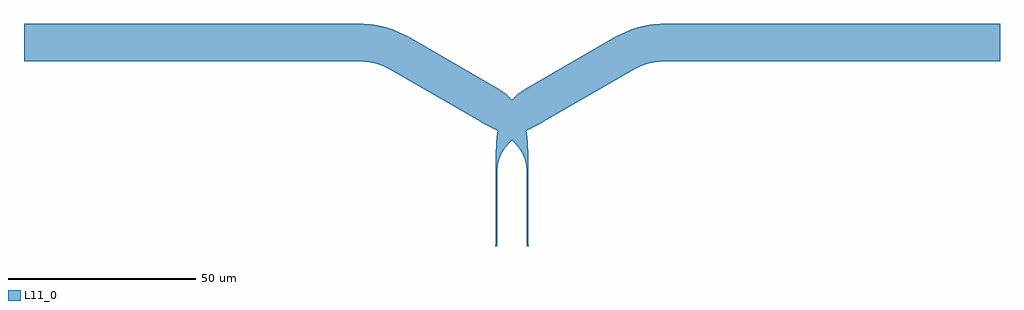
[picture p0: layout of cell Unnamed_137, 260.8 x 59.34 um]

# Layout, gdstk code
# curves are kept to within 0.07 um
from math import pi, radians
import gdstk
lib = gdstk.Library(unit=1e-6, precision=1e-09)
def P(c, l, *ps):  # polygons
    for p in ps: c.add(gdstk.Polygon(p, *l))
L11_0 = (11, 0)

unnamed_140 = lib.new_cell('Unnamed_140')
P(unnamed_140, L11_0, [(17.147,-10.1),(15.958,-8.468),(14.456,-7.117),(12.723,-6.085),(10.854,-5.377),(8.939,-4.965),(6.822,-4.783),(0,-5),(0,5),(2.538,4.758),(4.984,4.052),(7.527,2.769),(9.775,1.08),(11.895,-1.108),(13.964,-3.922),(17.494,-9.9)])

unnamed_141 = lib.new_cell('Unnamed_141')
P(unnamed_141, L11_0, [(0,-0.2),(0,0.2),(19.8,0.2),(19.8,0.4),(20.2,0.4),(20.2,-0.2)])

unnamed_139 = lib.new_cell('Unnamed_139')
P(unnamed_139, L11_0, [(121.995,-21.152),(96.984,-6.725),(94.635,-5.734),(91.958,-5.128),(89.984,-5),(0,-5),(0,5),(90.016,5),(92.613,4.863),(95.198,4.454),(98.653,3.455),(101.929,1.971),(126.995,-12.492)])

unnamed_138 = lib.new_cell('Unnamed_138')
unnamed_138.add(gdstk.Reference(unnamed_140, (124.495,-16.822), rotation=radians(330)))
unnamed_138.add(gdstk.Reference(unnamed_141, (134.495,-34.143), rotation=3*pi/2))
unnamed_138.add(gdstk.Reference(unnamed_139, (0,0)))

unnamed_137 = lib.new_cell('Unnamed_137')
unnamed_137.add(gdstk.Reference(unnamed_138, (260.8,0), rotation=pi, x_reflection=True))
unnamed_137.add(gdstk.Reference(unnamed_138, (0,0)))

lib.write_gds('Unnamed_137.gds')
